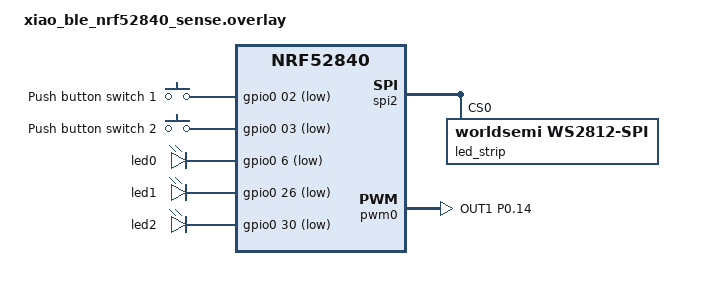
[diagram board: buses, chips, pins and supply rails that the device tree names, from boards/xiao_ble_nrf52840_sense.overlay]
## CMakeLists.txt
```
#
# Copyright (c) 2021 Nordic Semiconductor ASA
#
# SPDX-License-Identifier: LicenseRef-Nordic-5-Clause
#

cmake_minimum_required(VERSION 3.20.0)

find_package(Zephyr HINTS $ENV{ZEPHYR_BASE})

project(xiao_nrf52840_light_bulb)

# Enable GNU STD support and initialize the Matter Data Model.
include(${ZEPHYR_CONNECTEDHOMEIP_MODULE_DIR}/config/nrfconnect/app/enable-gnu-std.cmake)
include(${ZEPHYR_CONNECTEDHOMEIP_MODULE_DIR}/src/app/chip_data_model.cmake)

# NORDIC SDK APP START

# Include all source files that are located in the Matter common directory.
include(${ZEPHYR_NRF_MODULE_DIR}/samples/matter/common/cmake/source_common.cmake)

target_include_directories(app PRIVATE
    src
    ${CONFIG_NCS_SAMPLE_MATTER_ZAP_FILES_PATH}
)

if(CONFIG_AWS_IOT_INTEGRATION)
    add_subdirectory(src/aws_iot_integration)
endif()

target_sources(app PRIVATE
    src/app_task.cpp
    src/main.cpp
    src/zcl_callbacks.cpp
    src/user_led.cpp
    src/led_strip.cpp
)

chip_configure_data_model(app
    INCLUDE_SERVER
    BYPASS_IDL
    GEN_DIR ${CONFIG_NCS_SAMPLE_MATTER_ZAP_FILES_PATH}/zap-generated
    ZAP_FILE ${CMAKE_CURRENT_SOURCE_DIR}/${CONFIG_NCS_SAMPLE_MATTER_ZAP_FILES_PATH}/light_bulb.zap
)
# NORDIC SDK APP END
```

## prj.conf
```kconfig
#
# Copyright (c) 2022 Nordic Semiconductor ASA
#
# SPDX-License-Identifier: LicenseRef-Nordic-5-Clause
#

# Enable CHIP
CONFIG_CHIP=y
CONFIG_CHIP_PROJECT_CONFIG="src/chip_project_config.h"
# 32773 == 0x8005 (example lighting-app)
CONFIG_CHIP_DEVICE_PRODUCT_ID=32773
CONFIG_STD_CPP17=y

# Enable Matter pairing automatically on application start.
CONFIG_CHIP_ENABLE_PAIRING_AUTOSTART=y

# Enable Matter extended announcement and increase duration to 1 hour.
CONFIG_CHIP_BLE_EXT_ADVERTISING=y
CONFIG_CHIP_BLE_ADVERTISING_DURATION=60

# Add support for LEDs and buttons on Nordic development kits
CONFIG_DK_LIBRARY=y
CONFIG_PWM=y

# Bluetooth Low Energy configuration
CONFIG_BT_DEVICE_NAME="MatterLight"

# Other settings
CONFIG_THREAD_NAME=y
CONFIG_MPU_STACK_GUARD=y
CONFIG_RESET_ON_FATAL_ERROR=n
CONFIG_CHIP_LIB_SHELL=y
CONFIG_NCS_SAMPLE_MATTER_TEST_SHELL=y

# Reduce application size
CONFIG_USE_SEGGER_RTT=n

# Enable Factory Data feature
CONFIG_CHIP_FACTORY_DATA=y
CONFIG_CHIP_FACTORY_DATA_BUILD=y

CONFIG_MULTITHREADING=y

CONFIG_LSM6DSL=n
CONFIG_SENSOR=n

# led strip
CONFIG_LED_STRIP=y
CONFIG_LED_STRIP_LOG_LEVEL_DBG=y
```

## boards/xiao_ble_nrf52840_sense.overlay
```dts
/*
 * Copyright (c) 2021-2022 Nordic Semiconductor ASA
 *
 * SPDX-License-Identifier: LicenseRef-Nordic-5-Clause
 */

#include <zephyr/dt-bindings/led/led.h>

#include "../nrf52-bindings.h"

/ {
	chosen {
		nordic,pm-ext-flash = &p25q16h;
	};

	/*
	* In some default configurations within the nRF Connect SDK,
	* e.g. on nRF52840, the chosen zephyr,entropy node is &cryptocell.
	* This devicetree overlay ensures that default is overridden wherever it
	* is set, as this application uses the RNG node for entropy exclusively.
	*/

	chosen {
		zephyr,entropy = &rng;
	};

	buttons {
		compatible = "gpio-keys";

		button1: button_1 {
			gpios = <&gpio0 02 (GPIO_PULL_UP | GPIO_ACTIVE_LOW)>;
			label = "Push button switch 1";
		};
		button2: button_2 {
			gpios = <&gpio0 03 (GPIO_PULL_UP | GPIO_ACTIVE_LOW)>;
			label = "Push button switch 2";
		};
    };

	/*
	* By default, PWM module is only configured for led0 (LED1 on the board).
	* The light bulb app, however, uses LED2 to show the state of the lighting,
	* including its brightness level.
	*/
	aliases {
		pwm-led1 = &pwm_led1;
		led-strip = &led_strip;
	};

	pwmleds {
		pwm_led1: pwm_led_1 {
			pwms = <&pwm0 1 PWM_MSEC(20) PWM_POLARITY_INVERTED>;
		};
	};

};

&spi2 {
	compatible = "nordic,nrf-spim";

	led_strip: ws2812@0 {
		compatible = "worldsemi,ws2812-spi";

		/* SPI */
		reg = <0>; /* ignored, but necessary for SPI bindings */
		spi-max-frequency = <SPI_FREQ>;

		/* WS2812 */
		chain-length = <16>; /* arbitrary; change at will */
		color-mapping = <LED_COLOR_ID_GREEN
				 LED_COLOR_ID_RED
				 LED_COLOR_ID_BLUE>;
		spi-one-frame = <ONE_FRAME>;
		spi-zero-frame = <ZERO_FRAME>;
	};
};

&pwm0 {
	pinctrl-0 = <&pwm0_default_alt>;
	pinctrl-1 = <&pwm0_sleep_alt>;
	pinctrl-names = "default", "sleep";
};

&pinctrl {
	spi2_default: spi2_default {
		group1 {
				psels = <NRF_PSEL(SPIM_SCK, 1, 13)>,
						<NRF_PSEL(SPIM_MOSI, 0, 28)>,
						<NRF_PSEL(SPIM_MISO, 1, 14)>;
		};
	};

	spi2_sleep: spi2_sleep {
		group1 {
				psels = <NRF_PSEL(SPIM_SCK, 1, 13)>,
						<NRF_PSEL(SPIM_MOSI, 0, 28)>,
						<NRF_PSEL(SPIM_MISO, 1, 14)>;
				low-power-enable;
		};
	};
};

&pinctrl {
	pwm0_default_alt: pwm0_default_alt {
		group1 {
			psels = <NRF_PSEL(PWM_OUT1, 0, 14)>;
			nordic,invert;
		};
	};

	pwm0_sleep_alt: pwm0_sleep_alt {
		group1 {
			psels = <NRF_PSEL(PWM_OUT1, 0, 14)>;
			low-power-enable;
		};
	};

};

&flash0 {
    partitions {
        compatible = "fixed-partitions";
        #address-cells = <1>;
        #size-cells = <1>;

        mcuboot_partition: partition@0 {
            label = "mcuboot";
            reg = <0x0 0x10000>;  /* increased to 64 KB */
        };

        slot0_partition: partition@10000 {
            label = "image-0";
            reg = <0x10000 0x76000>;  /* adjusted start and size */
        };

        slot1_partition: partition@86000 {
            label = "image-1";
            reg = <0x86000 0x74000>;
        };

        my_storage_partition: partition@f8000 {
            label = "my_storage";
            reg = <0xf8000 0x8000>;
        };
    };
};

&led0 {
	gpios = < &gpio0 6 0x1 >;
};

&led1 {
	gpios = < &gpio0 26 0x1 >;
};

&led2 {
	gpios = < &gpio0 30 0x1 >;
};

/* Disable unused peripherals to reduce power consumption */
&adc {
	status = "disabled";
};
&uart1 {
	status = "disabled";
};
&i2c0 {
	status = "disabled";
};
&spi1 {
	status = "disabled";
};
&spi3 {
	status = "disabled";
};
```

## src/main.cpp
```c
/*
 * Copyright (c) 2021 Nordic Semiconductor ASA
 *
 * SPDX-License-Identifier: LicenseRef-Nordic-5-Clause
 */

#include "app_task.h"

#include <zephyr/logging/log.h>

#include "user_led.h"

LOG_MODULE_REGISTER(app, CONFIG_CHIP_APP_LOG_LEVEL);

int main()
{
	// initialize user led
	user_led_init();

	CHIP_ERROR err = AppTask::Instance().StartApp();

	LOG_ERR("Exited with code %" CHIP_ERROR_FORMAT, err.Format());
	return err == CHIP_NO_ERROR ? EXIT_SUCCESS : EXIT_FAILURE;
}
```

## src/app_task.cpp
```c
/*
 * Copyright (c) 2021 Nordic Semiconductor ASA
 *
 * SPDX-License-Identifier: LicenseRef-Nordic-5-Clause
 */

#include "app_task.h"

#ifdef CONFIG_AWS_IOT_INTEGRATION
#include "aws_iot_integration.h"
#endif

#include "app/matter_init.h"
#include "app/task_executor.h"

#if defined(CONFIG_PWM)
#include "pwm/pwm_device.h"
#endif

#ifdef CONFIG_CHIP_OTA_REQUESTOR
#include "dfu/ota/ota_util.h"
#endif

#include <app-common/zap-generated/attributes/Accessors.h>
#include <app/DeferredAttributePersistenceProvider.h>
#include <app/clusters/identify-server/identify-server.h>
#include <app/server/OnboardingCodesUtil.h>
#include <app/server/Server.h>

#include "user_led.h"

#include <zephyr/logging/log.h>

LOG_MODULE_DECLARE(app, CONFIG_CHIP_APP_LOG_LEVEL);

using namespace ::chip;
using namespace ::chip::app;
using namespace ::chip::DeviceLayer;

namespace
{
constexpr EndpointId kLightEndpointId = 1;
constexpr uint8_t kDefaultMinLevel = 0;
constexpr uint8_t kDefaultMaxLevel = 254;
constexpr uint16_t kTriggerEffectTimeout = 5000;
constexpr uint16_t kTriggerEffectFinishTimeout = 1000;

k_timer sTriggerEffectTimer;

Identify sIdentify = { kLightEndpointId, AppTask::IdentifyStartHandler, AppTask::IdentifyStopHandler,
		       Clusters::Identify::IdentifyTypeEnum::kVisibleIndicator, AppTask::TriggerIdentifyEffectHandler };

bool sIsTriggerEffectActive = false;

#if defined(CONFIG_PWM)
const struct pwm_dt_spec sLightPwmDevice = PWM_DT_SPEC_GET(DT_ALIAS(pwm_led1));
#endif

// Define a custom attribute persister which makes actual write of the CurrentLevel attribute value
// to the non-volatile storage only when it has remained constant for 5 seconds. This is to reduce
// the flash wearout when the attribute changes frequently as a result of MoveToLevel command.
// DeferredAttribute object describes a deferred attribute, but also holds a buffer with a value to
// be written, so it must live so long as the DeferredAttributePersistenceProvider object.
DeferredAttribute gCurrentLevelPersister(ConcreteAttributePath(kLightEndpointId, Clusters::LevelControl::Id,
							       Clusters::LevelControl::Attributes::CurrentLevel::Id));
DeferredAttributePersistenceProvider gDeferredAttributePersister(Server::GetInstance().GetDefaultAttributePersister(),
								 Span<DeferredAttribute>(&gCurrentLevelPersister, 1),
								 System::Clock::Milliseconds32(5000));

#define APPLICATION_BUTTON_MASK DK_BTN2_MSK
} /* namespace */

void AppTask::IdentifyStartHandler(Identify *)
{
	Nrf::PostTask(
		[] { Nrf::GetBoard().GetLED(Nrf::DeviceLeds::LED2).Blink(Nrf::LedConsts::kIdentifyBlinkRate_ms); });
}

void AppTask::IdentifyStopHandler(Identify *)
{
	Nrf::PostTask([] {
		Nrf::GetBoard().GetLED(Nrf::DeviceLeds::LED2).Set(false);

#if defined(CONFIG_PWM)
		Instance().mPWMDevice.ApplyLevel();
#endif
	});
}

void AppTask::TriggerEffectTimerTimeoutCallback(k_timer *timer)
{
	LOG_INF("Identify effect completed");

	sIsTriggerEffectActive = false;

	Nrf::GetBoard().GetLED(Nrf::DeviceLeds::LED2).Set(false);

#if defined(CONFIG_PWM)
	Instance().mPWMDevice.ApplyLevel();
#endif
}

void AppTask::TriggerIdentifyEffectHandler(Identify *identify)
{
	switch (identify->mCurrentEffectIdentifier) {
	/* Just handle all effects in the same way. */
	case Clusters::Identify::EffectIdentifierEnum::kBlink:
	case Clusters::Identify::EffectIdentifierEnum::kBreathe:
	case Clusters::Identify::EffectIdentifierEnum::kOkay:
	case Clusters::Identify::EffectIdentifierEnum::kChannelChange:
		LOG_INF("Identify effect identifier changed to %d",
			static_cast<uint8_t>(identify->mCurrentEffectIdentifier));

		sIsTriggerEffectActive = false;

		k_timer_stop(&sTriggerEffectTimer);
		k_timer_start(&sTriggerEffectTimer, K_MSEC(kTriggerEffectTimeout), K_NO_WAIT);

#if defined(CONFIG_PWM)
		Instance().mPWMDevice.SuppressOutput();
#endif
		Nrf::GetBoard().GetLED(Nrf::DeviceLeds::LED2).Blink(Nrf::LedConsts::kIdentifyBlinkRate_ms);

		break;
	case Clusters::Identify::EffectIdentifierEnum::kFinishEffect:
		LOG_INF("Identify effect finish triggered");
		k_timer_stop(&sTriggerEffectTimer);
		k_timer_start(&sTriggerEffectTimer, K_MSEC(kTriggerEffectFinishTimeout), K_NO_WAIT);
		break;
	case Clusters::Identify::EffectIdentifierEnum::kStopEffect:
		if (sIsTriggerEffectActive) {
			sIsTriggerEffectActive = false;

			k_timer_stop(&sTriggerEffectTimer);

			Nrf::GetBoard().GetLED(Nrf::DeviceLeds::LED2).Set(false);

#if defined(CONFIG_PWM)
			Instance().mPWMDevice.ApplyLevel();
#endif
		}
		break;
	default:
		LOG_ERR("Received invalid effect identifier.");
		break;
	}
}

void AppTask::LightingActionEventHandler(const LightingEvent &event)
{
#if defined(CONFIG_PWM)
	Nrf::PWMDevice::Action_t action = Nrf::PWMDevice::INVALID_ACTION;
	int32_t actor = 0;
	if (event.Actor == LightingActor::Button) {
		action = Instance().mPWMDevice.IsTurnedOn() ? Nrf::PWMDevice::OFF_ACTION : Nrf::PWMDevice::ON_ACTION;
		actor = static_cast<int32_t>(event.Actor);
	}

	if (action == Nrf::PWMDevice::INVALID_ACTION || !Instance().mPWMDevice.InitiateAction(action, actor, NULL)) {
		LOG_INF("An action could not be initiated.");
	}
#else
	Nrf::GetBoard().GetLED(Nrf::DeviceLeds::LED2).Set(!Nrf::GetBoard().GetLED(Nrf::DeviceLeds::LED2).GetState());
#endif
}

void AppTask::ButtonEventHandler(Nrf::ButtonState state, Nrf::ButtonMask hasChanged)
{
	if ((APPLICATION_BUTTON_MASK & hasChanged) & state) {
		Nrf::PostTask([] {
			LightingEvent event;
			event.Actor = LightingActor::Button;
			LightingActionEventHandler(event);
		});
	}
}

#ifdef CONFIG_AWS_IOT_INTEGRATION
bool AppTask::AWSIntegrationCallback(struct aws_iot_integration_cb_data *data)
{
	LOG_INF("Attribute change requested from AWS IoT: %d", data->value);

	Protocols::InteractionModel::Status status;

	VerifyOrDie(data->error == 0);

	if (data->attribute_id == ATTRIBUTE_ID_ONOFF) {
		/* write the new on/off value */
		status = Clusters::OnOff::Attributes::OnOff::Set(kLightEndpointId, data->value);
		if (status != Protocols::InteractionModel::Status::Success) {
			LOG_ERR("Updating on/off cluster failed: %x", to_underlying(status));
			return false;
		}
	} else if (data->attribute_id == ATTRIBUTE_ID_LEVEL_CONTROL) {
		/* write the current level */
		status = Clusters::LevelControl::Attributes::CurrentLevel::Set(kLightEndpointId, data->value);

		if (status != Protocols::InteractionModel::Status::Success) {
			LOG_ERR("Updating level cluster failed: %x", to_underlying(status));
			return false;
		}
	}

	return true;
}
#endif /* CONFIG_AWS_IOT_INTEGRATION */

#if defined(CONFIG_PWM)
void AppTask::ActionInitiated(Nrf::PWMDevice::Action_t action, int32_t actor)
{
	if (action == Nrf::PWMDevice::ON_ACTION) {
		LOG_INF("Turn On Action has been initiated");
		user_led_turn_on();
	} else if (action == Nrf::PWMDevice::OFF_ACTION) {
		LOG_INF("Turn Off Action has been initiated");
		user_led_turn_off();
	} else if (action == Nrf::PWMDevice::LEVEL_ACTION) {
		LOG_INF("Level Action has been initiated");
	}
}

void AppTask::ActionCompleted(Nrf::PWMDevice::Action_t action, int32_t actor)
{
	if (action == Nrf::PWMDevice::ON_ACTION) {
		LOG_INF("Turn On Action has been completed");
	} else if (action == Nrf::PWMDevice::OFF_ACTION) {
		LOG_INF("Turn Off Action has been completed");
	} else if (action == Nrf::PWMDevice::LEVEL_ACTION) {
		LOG_INF("Level Action has been completed");
	}

	if (actor == static_cast<int32_t>(LightingActor::Button)) {
		Instance().UpdateClusterState();
	}
}
#endif /* CONFIG_PWM */

void AppTask::UpdateClusterState()
{
	SystemLayer().ScheduleLambda([this] {
#if defined(CONFIG_PWM)
		/* write the new on/off value */
		Protocols::InteractionModel::Status status =
			Clusters::OnOff::Attributes::OnOff::Set(kLightEndpointId, mPWMDevice.IsTurnedOn());
#else
		Protocols::InteractionModel::Status status = Clusters::OnOff::Attributes::OnOff::Set(
			kLightEndpointId, Nrf::GetBoard().GetLED(Nrf::DeviceLeds::LED2).GetState());
#endif
		if (status != Protocols::InteractionModel::Status::Success) {
			LOG_ERR("Updating on/off cluster failed: %x", to_underlying(status));
		}

#if defined(CONFIG_PWM)
		/* write the current level */
		status = Clusters::LevelControl::Attributes::CurrentLevel::Set(kLightEndpointId, mPWMDevice.GetLevel());
#else
		/* write the current level */
		if (Nrf::GetBoard().GetLED(Nrf::DeviceLeds::LED2).GetState()) {
			status = Clusters::LevelControl::Attributes::CurrentLevel::Set(kLightEndpointId, 100);
		} else {
			status = Clusters::LevelControl::Attributes::CurrentLevel::Set(kLightEndpointId, 0);
		}
#endif

		if (status != Protocols::InteractionModel::Status::Success) {
			LOG_ERR("Updating level cluster failed: %x", to_underlying(status));
		}
	});
}

void AppTask::InitPWMDDevice()
{
#if defined(CONFIG_PWM)
	/* Initialize lighting device (PWM) */
	uint8_t minLightLevel = kDefaultMinLevel;
	Clusters::LevelControl::Attributes::MinLevel::Get(kLightEndpointId, &minLightLevel);

	uint8_t maxLightLevel = kDefaultMaxLevel;
	Clusters::LevelControl::Attributes::MaxLevel::Get(kLightEndpointId, &maxLightLevel);

	Clusters::LevelControl::Attributes::CurrentLevel::TypeInfo::Type currentLevel;
	Clusters::LevelControl::Attributes::CurrentLevel::Get(kLightEndpointId, currentLevel);

	int ret =
		mPWMDevice.Init(&sLightPwmDevice, minLightLevel, maxLightLevel, currentLevel.ValueOr(kDefaultMaxLevel));
	if (ret != 0) {
		LOG_ERR("Failed to initialize PWD device.");
	}

	mPWMDevice.SetCallbacks(ActionInitiated, ActionCompleted);
#endif
}

CHIP_ERROR AppTask::Init()
{
	/* Initialize Matter stack */
	ReturnErrorOnFailure(Nrf::Matter::PrepareServer(Nrf::Matter::InitData{ .mPostServerInitClbk = [] {
		app::SetAttributePersistenceProvider(&gDeferredAttributePersister);
		return CHIP_NO_ERROR;
	} }));

	if (!Nrf::GetBoard().Init(ButtonEventHandler)) {
		LOG_ERR("User interface initialization failed.");
		return CHIP_ERROR_INCORRECT_STATE;
	}

	/* Register Matter event handler that controls the connectivity status LED based on the captured Matter network
	 * state. */
	ReturnErrorOnFailure(Nrf::Matter::RegisterEventHandler(Nrf::Board::DefaultMatterEventHandler, 0));

#ifdef CONFIG_AWS_IOT_INTEGRATION
	int retAws = aws_iot_integration_register_callback(AWSIntegrationCallback);
	if (retAws) {
		LOG_ERR("aws_iot_integration_register_callback() failed");
		return chip::System::MapErrorZephyr(retAws);
	}
#endif

	/* Initialize trigger effect timer */
	k_timer_init(&sTriggerEffectTimer, &AppTask::TriggerEffectTimerTimeoutCallback, nullptr);

	return Nrf::Matter::StartServer();
}

CHIP_ERROR AppTask::StartApp()
{
	ReturnErrorOnFailure(Init());

	while (true) {
		Nrf::DispatchNextTask();
	}

	return CHIP_NO_ERROR;
}
```

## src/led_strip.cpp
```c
#include <stdio.h>
#include <zephyr/kernel.h>
#include <zephyr/drivers/led_strip.h>
#include <zephyr/device.h>
#include <zephyr/drivers/spi.h>
#include <zephyr/sys/util.h>
#include <zephyr/logging/log.h>

LOG_MODULE_REGISTER(led_strip, LOG_LEVEL_INF);

#define STRIP_NODE		DT_ALIAS(led_strip)

#if DT_NODE_HAS_PROP(DT_ALIAS(led_strip), chain_length)
#define STRIP_NUM_PIXELS	DT_PROP(DT_ALIAS(led_strip), chain_length)
#else
#error Unable to determine length of LED strip
#endif

#define DELAY_TIME K_MSEC(CONFIG_SAMPLE_LED_UPDATE_DELAY)

static struct led_rgb pixels[STRIP_NUM_PIXELS];

static const struct device *const strip = DEVICE_DT_GET(STRIP_NODE);

int led_strip_init(void)
{
    if (device_is_ready(strip)) {
        LOG_INF("Found LED strip device %s", strip->name);
    } else {
        LOG_ERR("LED strip device %s is not ready", strip->name);
        return -1;
    }

    // nothing to do here

    return 0;
}

int led_strip_write(size_t led_index, uint8_t r, uint8_t g, uint8_t b)
{
    if (led_index >= STRIP_NUM_PIXELS) {
        LOG_ERR("LED index out of range");
        return -1;
    }
    pixels[led_index].r = r;
    pixels[led_index].g = g;
    pixels[led_index].b = b;

    int rc = led_strip_update_rgb(strip, pixels, STRIP_NUM_PIXELS);
    if (rc) {
        LOG_ERR("Failed to update LED strip: %d", rc);
        return rc;
    }

    return 0;
}

int led_strip_clear(void)
{
	for (size_t i = 0; i < STRIP_NUM_PIXELS; i++) {
		pixels[i].r = 0;
		pixels[i].g = 0;
		pixels[i].b = 0;
	}

	int rc = led_strip_update_rgb(strip, pixels, STRIP_NUM_PIXELS);
	if (rc) {
		LOG_ERR("Failed to update LED strip: %d", rc);
        return rc;
	}

    return 0;
}
```

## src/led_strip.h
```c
#pragma once

#include <stdio.h>

#define RED_R   0x0f
#define RED_G   0x00
#define RED_B   0x00

#define GREEN_R 0x00
#define GREEN_G 0x0f
#define GREEN_B 0x00

#define BLUE_R  0x00
#define BLUE_G  0x00
#define BLUE_B  0x0f

#define OFF_R   0x00
#define OFF_G   0x00
#define OFF_B   0x00

int led_strip_init(void);
int led_strip_write(size_t led_index, uint8_t r, uint8_t g, uint8_t b);
int led_strip_clear(void);
```

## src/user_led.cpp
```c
#include <stdio.h>
#include <zephyr/kernel.h>
#include <zephyr/drivers/gpio.h>
#include <zephyr/logging/log.h>
#include "led_strip.h"

LOG_MODULE_REGISTER(user_led, LOG_LEVEL_INF);

void user_led_init()
{
	int ret = led_strip_init();
	if (ret < 0) {
		LOG_ERR("LED strip initialization failed.");
		return;
	}
}

void user_led_turn_on()
{
	// Set first LED to green
	int ret = led_strip_write(0, GREEN_R, GREEN_G, GREEN_B);

	if (ret < 0) {
		LOG_ERR("User LED Turn On failed.");
		return;
	}
}

void user_led_turn_off()
{
	int ret = led_strip_write(0, OFF_R, OFF_G, OFF_B);

	if (ret < 0) {
		LOG_ERR("User LED Turn Off failed.");
		return;
	}
}
```

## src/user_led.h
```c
#pragma once

#include <stdio.h>

void user_led_init();
void user_led_turn_on();
void user_led_turn_off();
```
